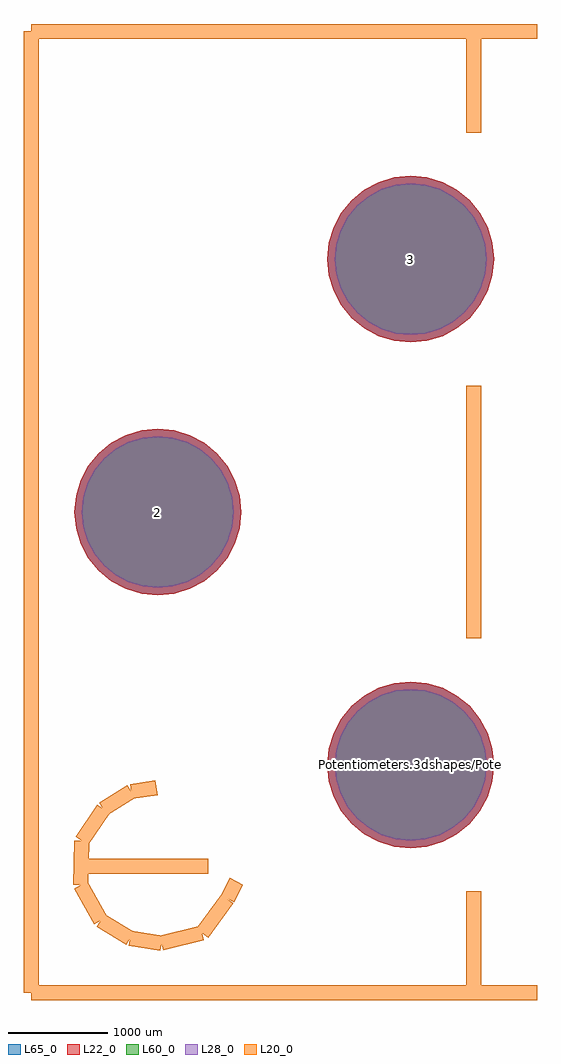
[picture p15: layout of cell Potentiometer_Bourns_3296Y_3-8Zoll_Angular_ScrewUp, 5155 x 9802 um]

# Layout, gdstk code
import gdstk
lib = gdstk.Library(unit=1e-6, precision=1e-09)
def P(c, l, *ps):  # polygons
    for p in ps: c.add(gdstk.Polygon(p, *l))
L20_0 = (20, 0)
L22_0 = (22, 0)
L28_0 = (28, 0)
L60_0 = (60, 0)
L65_0 = (65, 0)

potentiometer_bourns_329 = lib.new_cell('Potentiometer_Bourns_3296Y_3-8Zoll_Angular_ScrewUp')
P(potentiometer_bourns_329, L22_0, [(837,0),(820.917,163.291),(773.287,320.306),(695.94,465.012),(591.848,591.848),(465.012,695.94),(320.306,773.287),(163.291,820.917),(0,837),(-163.291,820.917),(-320.306,773.287),(-465.012,695.94),(-591.848,591.848),(-695.94,465.012),(-773.287,320.306),(-820.917,163.291),(-837,0),(-820.917,-163.291),(-773.287,-320.306),(-695.94,-465.012),(-591.848,-591.848),(-465.012,-695.94),(-320.306,-773.287),(-163.291,-820.917),(0,-837),(163.291,-820.917),(320.306,-773.287),(465.012,-695.94),(591.848,-591.848),(695.94,-465.012),(773.287,-320.306),(820.917,-163.291)],
  [(837,5080),(820.917,5243.291),(773.287,5400.306),(695.94,5545.012),(591.848,5671.848),(465.012,5775.94),(320.306,5853.287),(163.291,5900.917),(0,5917),(-163.291,5900.917),(-320.306,5853.287),(-465.012,5775.94),(-591.848,5671.848),(-695.94,5545.012),(-773.287,5400.306),(-820.917,5243.291),(-837,5080),(-820.917,4916.709),(-773.287,4759.694),(-695.94,4614.988),(-591.848,4488.152),(-465.012,4384.06),(-320.306,4306.713),(-163.291,4259.083),(0,4243),(163.291,4259.083),(320.306,4306.713),(465.012,4384.06),(591.848,4488.152),(695.94,4614.988),(773.287,4759.694),(820.917,4916.709)],
  [(-1703,2540),(-1719.083,2703.291),(-1766.713,2860.306),(-1844.06,3005.012),(-1948.152,3131.848),(-2074.988,3235.94),(-2219.694,3313.287),(-2376.709,3360.917),(-2540,3377),(-2703.291,3360.917),(-2860.306,3313.287),(-3005.012,3235.94),(-3131.848,3131.848),(-3235.94,3005.012),(-3313.287,2860.306),(-3360.917,2703.291),(-3377,2540),(-3360.917,2376.709),(-3313.287,2219.694),(-3235.94,2074.988),(-3131.848,1948.152),(-3005.012,1844.06),(-2860.306,1766.713),(-2703.291,1719.083),(-2540,1703),(-2376.709,1719.083),(-2219.694,1766.713),(-2074.988,1844.06),(-1948.152,1948.152),(-1844.06,2074.988),(-1766.713,2219.694),(-1719.083,2376.709)])
P(potentiometer_bourns_329, L28_0, [(762,0),(747.358,148.659),(703.996,291.605),(633.58,423.345),(538.815,538.815),(423.345,633.58),(291.605,703.996),(148.659,747.358),(0,762),(-148.659,747.358),(-291.605,703.996),(-423.345,633.58),(-538.815,538.815),(-633.58,423.345),(-703.996,291.605),(-747.358,148.659),(-762,0),(-747.358,-148.659),(-703.996,-291.605),(-633.58,-423.345),(-538.815,-538.815),(-423.345,-633.58),(-291.605,-703.996),(-148.659,-747.358),(0,-762),(148.659,-747.358),(291.605,-703.996),(423.345,-633.58),(538.815,-538.815),(633.58,-423.345),(703.996,-291.605),(747.358,-148.659)],
  [(762,5080),(747.358,5228.659),(703.996,5371.605),(633.58,5503.345),(538.815,5618.815),(423.345,5713.58),(291.605,5783.996),(148.659,5827.358),(0,5842),(-148.659,5827.358),(-291.605,5783.996),(-423.345,5713.58),(-538.815,5618.815),(-633.58,5503.345),(-703.996,5371.605),(-747.358,5228.659),(-762,5080),(-747.358,4931.341),(-703.996,4788.395),(-633.58,4656.655),(-538.815,4541.185),(-423.345,4446.42),(-291.605,4376.004),(-148.659,4332.642),(0,4318),(148.659,4332.642),(291.605,4376.004),(423.345,4446.42),(538.815,4541.185),(633.58,4656.655),(703.996,4788.395),(747.358,4931.341)],
  [(-1778,2540),(-1792.642,2688.659),(-1836.004,2831.605),(-1906.42,2963.345),(-2001.185,3078.815),(-2116.655,3173.58),(-2248.395,3243.996),(-2391.341,3287.358),(-2540,3302),(-2688.659,3287.358),(-2831.605,3243.996),(-2963.345,3173.58),(-3078.815,3078.815),(-3173.58,2963.345),(-3243.996,2831.605),(-3287.358,2688.659),(-3302,2540),(-3287.358,2391.341),(-3243.996,2248.395),(-3173.58,2116.655),(-3078.815,2001.185),(-2963.345,1906.42),(-2831.605,1836.004),(-2688.659,1792.642),(-2540,1778),(-2391.341,1792.642),(-2248.395,1836.004),(-2116.655,1906.42),(-2001.185,2001.185),(-1906.42,2116.655),(-1836.004,2248.395),(-1792.642,2391.341)])
P(potentiometer_bourns_329, L60_0, [(762,0),(747.358,148.659),(703.996,291.605),(633.58,423.345),(538.815,538.815),(423.345,633.58),(291.605,703.996),(148.659,747.358),(0,762),(-148.659,747.358),(-291.605,703.996),(-423.345,633.58),(-538.815,538.815),(-633.58,423.345),(-703.996,291.605),(-747.358,148.659),(-762,0),(-747.358,-148.659),(-703.996,-291.605),(-633.58,-423.345),(-538.815,-538.815),(-423.345,-633.58),(-291.605,-703.996),(-148.659,-747.358),(0,-762),(148.659,-747.358),(291.605,-703.996),(423.345,-633.58),(538.815,-538.815),(633.58,-423.345),(703.996,-291.605),(747.358,-148.659)],
  [(762,5080),(747.358,5228.659),(703.996,5371.605),(633.58,5503.345),(538.815,5618.815),(423.345,5713.58),(291.605,5783.996),(148.659,5827.358),(0,5842),(-148.659,5827.358),(-291.605,5783.996),(-423.345,5713.58),(-538.815,5618.815),(-633.58,5503.345),(-703.996,5371.605),(-747.358,5228.659),(-762,5080),(-747.358,4931.341),(-703.996,4788.395),(-633.58,4656.655),(-538.815,4541.185),(-423.345,4446.42),(-291.605,4376.004),(-148.659,4332.642),(0,4318),(148.659,4332.642),(291.605,4376.004),(423.345,4446.42),(538.815,4541.185),(633.58,4656.655),(703.996,4788.395),(747.358,4931.341)],
  [(-1778,2540),(-1792.642,2688.659),(-1836.004,2831.605),(-1906.42,2963.345),(-2001.185,3078.815),(-2116.655,3173.58),(-2248.395,3243.996),(-2391.341,3287.358),(-2540,3302),(-2688.659,3287.358),(-2831.605,3243.996),(-2963.345,3173.58),(-3078.815,3078.815),(-3173.58,2963.345),(-3243.996,2831.605),(-3287.358,2688.659),(-3302,2540),(-3287.358,2391.341),(-3243.996,2248.395),(-3173.58,2116.655),(-3078.815,2001.185),(-2963.345,1906.42),(-2831.605,1836.004),(-2688.659,1792.642),(-2540,1778),(-2391.341,1792.642),(-2248.395,1836.004),(-2116.655,1906.42),(-2001.185,2001.185),(-1906.42,2116.655),(-1836.004,2248.395),(-1792.642,2391.341)])
P(potentiometer_bourns_329, L65_0, [(837,0),(820.917,163.291),(773.287,320.306),(695.94,465.012),(591.848,591.848),(465.012,695.94),(320.306,773.287),(163.291,820.917),(0,837),(-163.291,820.917),(-320.306,773.287),(-465.012,695.94),(-591.848,591.848),(-695.94,465.012),(-773.287,320.306),(-820.917,163.291),(-837,0),(-820.917,-163.291),(-773.287,-320.306),(-695.94,-465.012),(-591.848,-591.848),(-465.012,-695.94),(-320.306,-773.287),(-163.291,-820.917),(0,-837),(163.291,-820.917),(320.306,-773.287),(465.012,-695.94),(591.848,-591.848),(695.94,-465.012),(773.287,-320.306),(820.917,-163.291)],
  [(837,5080),(820.917,5243.291),(773.287,5400.306),(695.94,5545.012),(591.848,5671.848),(465.012,5775.94),(320.306,5853.287),(163.291,5900.917),(0,5917),(-163.291,5900.917),(-320.306,5853.287),(-465.012,5775.94),(-591.848,5671.848),(-695.94,5545.012),(-773.287,5400.306),(-820.917,5243.291),(-837,5080),(-820.917,4916.709),(-773.287,4759.694),(-695.94,4614.988),(-591.848,4488.152),(-465.012,4384.06),(-320.306,4306.713),(-163.291,4259.083),(0,4243),(163.291,4259.083),(320.306,4306.713),(465.012,4384.06),(591.848,4488.152),(695.94,4614.988),(773.287,4759.694),(820.917,4916.709)],
  [(-1703,2540),(-1719.083,2703.291),(-1766.713,2860.306),(-1844.06,3005.012),(-1948.152,3131.848),(-2074.988,3235.94),(-2219.694,3313.287),(-2376.709,3360.917),(-2540,3377),(-2703.291,3360.917),(-2860.306,3313.287),(-3005.012,3235.94),(-3131.848,3131.848),(-3235.94,3005.012),(-3313.287,2860.306),(-3360.917,2703.291),(-3377,2540),(-3360.917,2376.709),(-3313.287,2219.694),(-3235.94,2074.988),(-3131.848,1948.152),(-3005.012,1844.06),(-2860.306,1766.713),(-2703.291,1719.083),(-2540,1703),(-2376.709,1719.083),(-2219.694,1766.713),(-2074.988,1844.06),(-1948.152,1948.152),(-1844.06,2074.988),(-1766.713,2219.694),(-1719.083,2376.709)])
potentiometer_bourns_329.add(gdstk.FlexPath([(-1270,-2286),(-2540,-2286)], 149.998, ends="flush", simple_path=True, layer=20, datatype=0))  # L20_0
potentiometer_bourns_329.add(gdstk.FlexPath([(1270,-2286),(-1270,-2286)], 149.998, ends="flush", simple_path=True, layer=20, datatype=0))  # L20_0
potentiometer_bourns_329.add(gdstk.FlexPath([(-3810,7366),(1270,7366)], 149.998, ends="flush", simple_path=True, layer=20, datatype=0))  # L20_0
potentiometer_bourns_329.add(gdstk.FlexPath([(-3810,-2286),(-3810,7366)], 149.998, ends="flush", simple_path=True, layer=20, datatype=0))  # L20_0
potentiometer_bourns_329.add(gdstk.FlexPath([(-2540,-2286),(-3810,-2286)], 149.998, ends="flush", simple_path=True, layer=20, datatype=0))  # L20_0
potentiometer_bourns_329.add(gdstk.FlexPath([(-1841.5,-1346.2),(-1752.6,-1168.4)], 149.998, ends="flush", simple_path=True, layer=20, datatype=0))  # L20_0
potentiometer_bourns_329.add(gdstk.FlexPath([(-2095.5,-1689.1),(-1841.5,-1346.2)], 149.998, ends="flush", simple_path=True, layer=20, datatype=0))  # L20_0
potentiometer_bourns_329.add(gdstk.FlexPath([(-2501.9,-1790.7),(-2095.5,-1689.1)], 149.998, ends="flush", simple_path=True, layer=20, datatype=0))  # L20_0
potentiometer_bourns_329.add(gdstk.FlexPath([(-2819.4,-1739.9),(-2501.9,-1790.7)], 149.998, ends="flush", simple_path=True, layer=20, datatype=0))  # L20_0
potentiometer_bourns_329.add(gdstk.FlexPath([(-3111.5,-1562.1),(-2819.4,-1739.9)], 149.998, ends="flush", simple_path=True, layer=20, datatype=0))  # L20_0
potentiometer_bourns_329.add(gdstk.FlexPath([(-3314.7,-1206.5),(-3111.5,-1562.1)], 149.998, ends="flush", simple_path=True, layer=20, datatype=0))  # L20_0
potentiometer_bourns_329.add(gdstk.FlexPath([(-3302,-762),(-3314.7,-1206.5)], 149.998, ends="flush", simple_path=True, layer=20, datatype=0))  # L20_0
potentiometer_bourns_329.add(gdstk.FlexPath([(-3086.1,-444.5),(-3302,-762)], 149.998, ends="flush", simple_path=True, layer=20, datatype=0))  # L20_0
potentiometer_bourns_329.add(gdstk.FlexPath([(-2806.7,-266.7),(-3086.1,-444.5)], 149.998, ends="flush", simple_path=True, layer=20, datatype=0))  # L20_0
potentiometer_bourns_329.add(gdstk.FlexPath([(-2552.7,-228.6),(-2806.7,-266.7)], 149.998, ends="flush", simple_path=True, layer=20, datatype=0))  # L20_0
potentiometer_bourns_329.add(gdstk.FlexPath([(-3302,-1016),(-2032,-1016)], 149.998, ends="flush", simple_path=True, layer=20, datatype=0))  # L20_0
potentiometer_bourns_329.add(gdstk.FlexPath([(635,7366),(635,6350)], 149.998, ends="flush", simple_path=True, layer=20, datatype=0))  # L20_0
potentiometer_bourns_329.add(gdstk.FlexPath([(635,3810),(635,1270)], 149.998, ends="flush", simple_path=True, layer=20, datatype=0))  # L20_0
potentiometer_bourns_329.add(gdstk.FlexPath([(635,-1270),(635,-2286)], 149.998, ends="flush", simple_path=True, layer=20, datatype=0))  # L20_0
potentiometer_bourns_329.add(gdstk.Label('Potentiometers.3dshapes/Potentiometer_Bourns_3296Y_3-8Zoll_Angular_ScrewUp.wrl', (0,0), layer=12, texttype=0))
potentiometer_bourns_329.add(gdstk.Label('1', (0,0), layer=28, texttype=0))
potentiometer_bourns_329.add(gdstk.Label('3', (0,5080), layer=28, texttype=0))
potentiometer_bourns_329.add(gdstk.Label('2', (-2540,2540), layer=28, texttype=0))
potentiometer_bourns_329.add(gdstk.Label('type', (0,-5080), layer=9, texttype=0))
potentiometer_bourns_329.add(gdstk.Label('devicename', (-1270,10160), layer=9, texttype=0))

lib.write_gds('Potentiometer_Bourns_3296Y_3-8Zoll_Angular_ScrewUp.gds')
